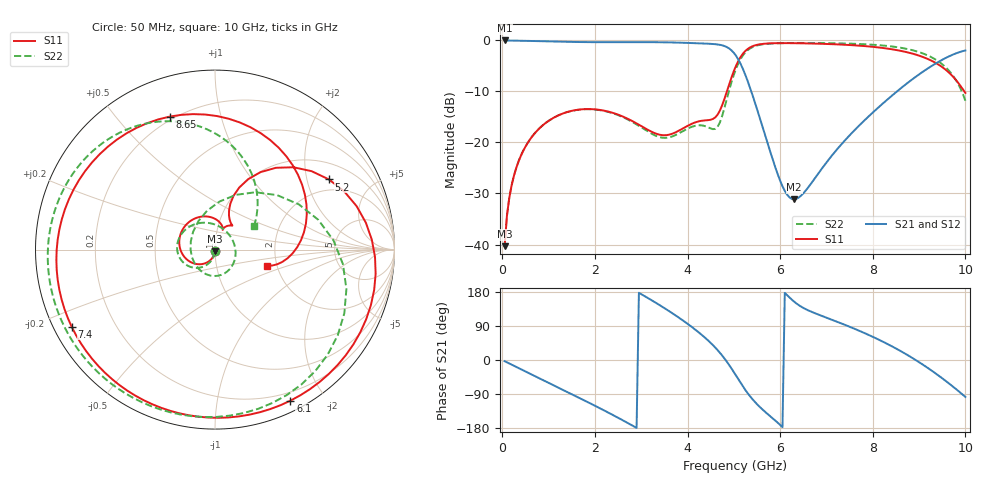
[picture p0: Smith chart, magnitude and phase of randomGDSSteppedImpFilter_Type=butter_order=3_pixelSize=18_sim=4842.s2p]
! freq	dB(S11)	phase(S11)	dB(S12)	phase(S12)
!  dB(S21)	phase(S21)	dB(S22)	phase(S22)
!S-par simulation data
#  GHz  S  DB  R 50
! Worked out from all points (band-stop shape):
!   200 points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, 50 MHz to 10 GHz, reference 50 ohm
!   highest |S21| = -0.01 dB at 50 MHz (marker M1); lowest = -31.1 dB at 6.3 GHz (marker M2)
!   |S21| within 3 dB of the highest: start of sweep to 5.047 GHz; 9.673 GHz to end of sweep
!   lowest |S11| = -40.3 dB at 50 MHz (marker M3), VSWR 1.02, Z = 49.9 - j0.961 ohm
!   |S11| at or under -10 dB: start of sweep to 4.85 GHz; 9.977879 GHz to end of sweep
!   |S22| runs from -40.3 to -0.5 dB; largest |S21 - S12| = 0
!   S11 on the Smith chart (normalised r, x): 50 MHz: 1.00, -0.02; 5.2 GHz: 1.55, +2.73; 6.1 GHz: 0.11, -1.61; 7.4 GHz: 0.05, -0.25; 8.65 GHz: 0.18, +0.70; 10 GHz: 1.78, -0.35
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0.05  -40.33 -92.5  -0.01 -3.1  -0.01 -3.1  -40.31 -91.6
0.2  -28.47 -103.5  -0.03 -12.2  -0.03 -12.2  -28.45 -100.3
0.5  -20.82 -124.6  -0.08 -30.3  -0.08 -30.3  -20.81 -116.7
1.15  -14.95 -169.0  -0.23 -69.2  -0.23 -69.2  -14.95 -150.7
1.75  -13.48 150.5  -0.33 -105.3  -0.33 -105.3  -13.50 177.6
2.65  -15.10 92.8  -0.34 -162.3  -0.34 -162.3  -15.23 122.1
3.4  -18.49 68.7  -0.36 144.7  -0.36 144.7  -18.96 40.0
3.9  -17.25 66.2  -0.45 104.4  -0.45 104.4  -17.78 -38.8
4.3  -15.75 55.2  -0.58 67.1  -0.58 67.1  -16.65 -100.6
4.75  -12.65 70.4  -0.97 11.6  -0.97 11.6  -14.73 120.3
5.05  -4.91 53.3  -3.05 -41.8  -3.05 -41.8  -5.50 28.3
5.2  -2.55 31.6  -5.68 -70.5  -5.68 -70.5  -2.89 -6.5
5.6  -0.70 -19.6  -16.35 -128.5  -16.35 -128.5  -0.80 -69.5
6.1  -0.53 -63.5  -29.49 177.0  -29.49 177.0  -0.52 -112.3
6.3  -0.54 -78.1  -31.13 154.2  -31.13 154.2  -0.50 -124.8
6.7  -0.61 -105.5  -27.65 126.0  -27.65 126.0  -0.50 -145.9
7.4  -0.85 -151.7  -19.58 92.7  -19.58 92.7  -0.60 -176.9
7.9  -1.17 172.6  -14.98 66.8  -14.98 66.8  -0.78 162.4
8.35  -1.64 136.1  -11.31 40.2  -11.31 40.2  -1.11 143.1
8.65  -2.13 108.7  -9.06 20.2  -9.06 20.2  -1.51 129.3
9.35  -4.36 36.7  -4.57 -34.8  -4.57 -34.8  -3.71 90.6
10  -10.29 -17.1  -1.97 -97.4  -1.97 -97.4  -11.83 31.4
